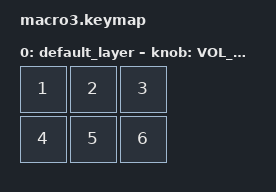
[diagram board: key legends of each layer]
#include <behaviors.dtsi>
#include <dt-bindings/zmk/keys.h>
#include <dt-bindings/zmk/bt.h>


/ {
    keymap {
        compatible = "zmk,keymap";

        default_layer {

            bindings = <

    &kp N1   &kp N2 &kp N3
    &kp N4   &kp N5 &kp N6
   
            >;
            

sensor-bindings = <&inc_dec_kp C_VOL_UP C_VOL_DN &inc_dec_kp PG_UP PG_DN>;

        };


    };
};
